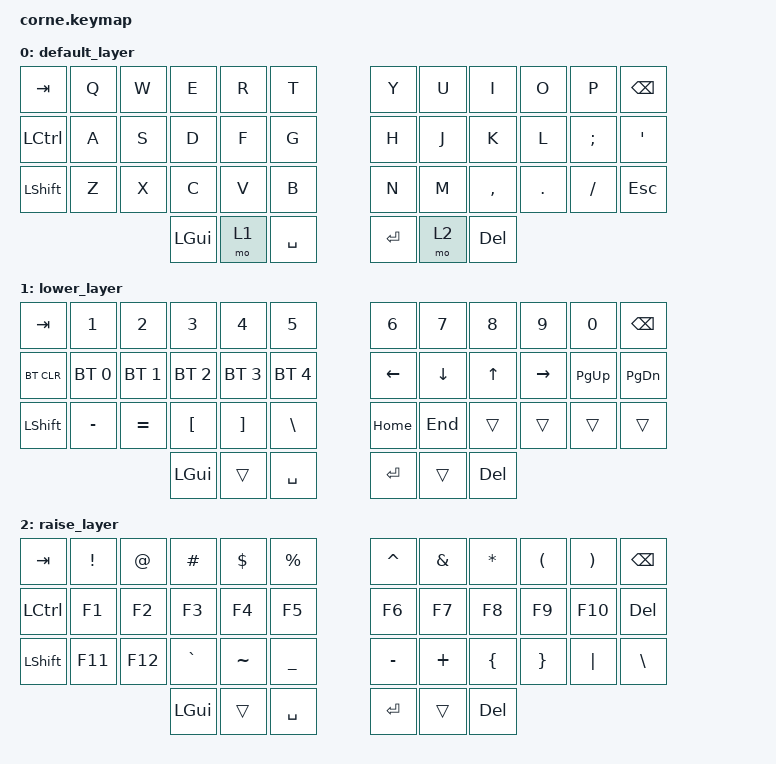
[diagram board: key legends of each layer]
/*
 * Copyright (c) 2020 The ZMK Contributors
 * SPDX-License-Identifier: MIT
 *
 * Corne 42 teclas — Layout para programador (macOS, español/inglés)
 *
 * Capa 0 Default : QWERTY base
 * Capa 1 Lower   : Números · Navegación · Bluetooth
 * Capa 2 Raise   : Símbolos de código · F-keys
 */

#include <behaviors.dtsi>
#include <dt-bindings/zmk/keys.h>
#include <dt-bindings/zmk/bt.h>

/ {
    keymap {
        compatible = "zmk,keymap";

        default_layer {
// ╭────────┬─────┬─────┬─────┬─────┬─────╮   ╭─────┬─────┬─────┬─────┬─────┬────────╮
// │  TAB   │  Q  │  W  │  E  │  R  │  T  │   │  Y  │  U  │  I  │  O  │  P  │  BSPC  │
// │  CTRL  │  A  │  S  │  D  │  F  │  G  │   │  H  │  J  │  K  │  L  │  ;  │   '    │
// │  SHFT  │  Z  │  X  │  C  │  V  │  B  │   │  N  │  M  │  ,  │  .  │  /  │  ESC   │
// ╰────────┴─────┴─────┼─────┼─────┼─────┤   ├─────┼─────┼─────┼─────┴─────┴────────╯
//                      │ GUI │ LWR │ SPC │   │ ENT │ RSE │ DEL │
//                      ╰─────┴─────┴─────╯   ╰─────┴─────┴─────╯
            bindings = <
   &kp TAB   &kp Q &kp W &kp E &kp R &kp T   &kp Y &kp U  &kp I     &kp O   &kp P    &kp BSPC
   &kp LCTRL &kp A &kp S &kp D &kp F &kp G   &kp H &kp J  &kp K     &kp L   &kp SEMI &kp SQT
   &kp LSHFT &kp Z &kp X &kp C &kp V &kp B   &kp N &kp M  &kp COMMA &kp DOT &kp FSLH &kp ESC
                   &kp LGUI &mo 1 &kp SPACE   &kp RET &mo 2 &kp DEL
            >;
        };

        lower_layer {
// ╭────────┬─────┬─────┬─────┬─────┬─────╮   ╭──────┬──────┬──────┬───────┬──────┬────────╮
// │  TAB   │  1  │  2  │  3  │  4  │  5  │   │  6   │  7   │  8   │   9   │  0   │  BSPC  │
// │ BTCLR  │ BT1 │ BT2 │ BT3 │ BT4 │ BT5 │   │  ←   │  ↓   │  ↑   │   →   │ PgUp │  PgDn  │
// │  SHFT  │  -  │  =  │  [  │  ]  │  \  │   │ Home │ End  │      │       │      │        │
// ╰────────┴─────┴─────┼─────┼─────┼─────┤   ├──────┼──────┼──────┼───────┴──────┴────────╯
//                      │ GUI │     │ SPC │   │ ENT  │      │ DEL  │
//                      ╰─────┴─────┴─────╯   ╰──────┴──────┴──────╯
            bindings = <
   &kp TAB    &kp N1       &kp N2       &kp N3       &kp N4       &kp N5            &kp N6   &kp N7   &kp N8 &kp N9    &kp N0    &kp BSPC
   &bt BT_CLR &bt BT_SEL 0 &bt BT_SEL 1 &bt BT_SEL 2 &bt BT_SEL 3 &bt BT_SEL 4      &kp LEFT &kp DOWN &kp UP &kp RIGHT &kp PG_UP &kp PG_DN
   &kp LSHFT  &kp MINUS    &kp EQUAL    &kp LBKT     &kp RBKT     &kp BSLH          &kp HOME &kp END  &trans &trans    &trans    &trans
                                        &kp LGUI     &trans       &kp SPACE         &kp RET  &trans   &kp DEL
            >;
        };

        raise_layer {
// ╭────────┬─────┬─────┬─────┬─────┬─────╮   ╭─────┬─────┬─────┬─────┬──────┬────────╮
// │  TAB   │  !  │  @  │  #  │  $  │  %  │   │  ^  │  &  │  *  │  (  │  )   │  BSPC  │
// │  CTRL  │ F1  │ F2  │ F3  │ F4  │ F5  │   │ F6  │ F7  │ F8  │ F9  │ F10  │  DEL   │
// │  SHFT  │ F11 │ F12 │  `  │  ~  │  _  │   │  -  │  +  │  {  │  }  │  |   │   \    │
// ╰────────┴─────┴─────┼─────┼─────┼─────┤   ├─────┼─────┼─────┼─────┴──────┴────────╯
//                      │ GUI │     │ SPC │   │ ENT │     │ DEL │
//                      ╰─────┴─────┴─────╯   ╰─────┴─────┴─────╯
            bindings = <
   &kp TAB   &kp EXCL &kp AT  &kp HASH  &kp DLLR  &kp PRCNT   &kp CARET &kp AMPS &kp ASTRK &kp LPAR &kp RPAR &kp BSPC
   &kp LCTRL &kp F1   &kp F2  &kp F3    &kp F4    &kp F5      &kp F6    &kp F7   &kp F8    &kp F9   &kp F10  &kp DEL
   &kp LSHFT &kp F11  &kp F12 &kp GRAVE &kp TILDE &kp UNDER   &kp MINUS &kp PLUS &kp LBRC  &kp RBRC &kp PIPE &kp BSLH
                               &kp LGUI  &trans    &kp SPACE   &kp RET   &trans   &kp DEL
            >;
        };
    };
};
